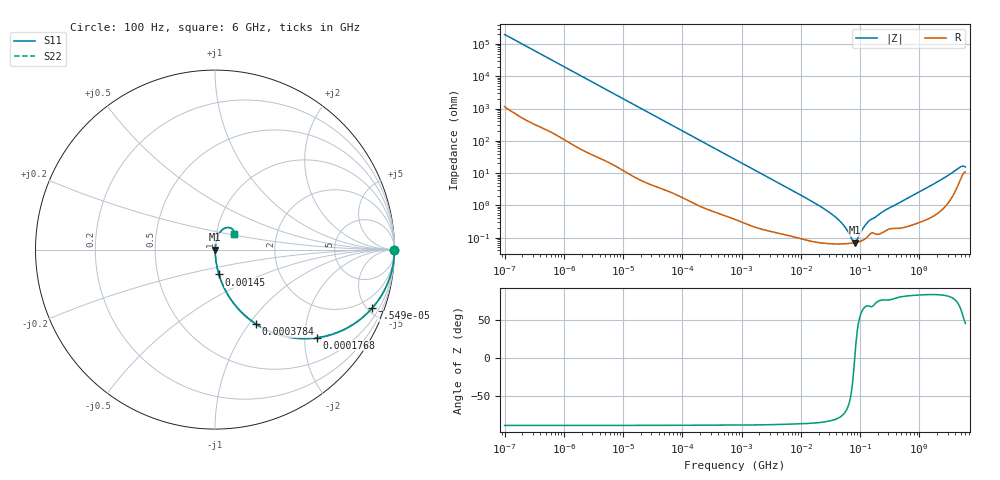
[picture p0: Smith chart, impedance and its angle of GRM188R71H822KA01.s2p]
!Murata Part Number: GRM188R71H822KA01
!These Parameters are Measured in Series Mode Connection
!Data Generated on Mar 30, 2021
!  o--ll--o
!Port1  Port2
!  o------o
!Operation Temp=25[degC], DC Bias Voltage=0[V]
!Freq. Start=100[Hz] Stop=6[GHz] 401[Steps]
# Hz S RI R 50
!Freq.(Hz) S11(Real) S11(Imag) S21(Real) S21(Imag) S12(Real) S12(Imag) S22(Real) S22(Imag)
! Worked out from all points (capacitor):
!   401 points, 100 Hz to 6 GHz, reference 50 ohm
!   read as one part in series: C = 8.05 nF near 109 Hz
!   lowest |Z| = 69.7 mohm at 81.54 MHz (marker M1)
!   series resonance near 81.29 MHz, so ESL is about 480 pH
!   S11 on the Smith chart (normalised r, x): 100 Hz: open; 75.5 kHz: 1.04, -5.36; 176.8 kHz: 1.02, -2.30; 378.4 kHz: 1.01, -1.08; 1.45 MHz: 1.00, -0.28; 6 GHz: 1.21, +0.22
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100  1 -0.000506  3.2e-06 0.000506  3.2e-06 0.000506  1 -0.000506
2008  0.9998 -0.0101  0.000155 0.0101  0.000155 0.0101  0.9998 -0.0101
12592  0.9957 -0.0624  0.00428 0.0624  0.00428 0.0624  0.9957 -0.0624
40335  0.9603 -0.1919  0.0397 0.1919  0.0397 0.1919  0.9603 -0.1919
75495  0.8757 -0.3259  0.1243 0.3259  0.1243 0.3259  0.8757 -0.3259
176758  0.5685 -0.4908  0.4315 0.4908  0.4315 0.4908  0.5685 -0.4908
378399  0.2276 -0.4138  0.7724 0.4138  0.7724 0.4138  0.2276 -0.4138
774597  0.0684 -0.2456  0.9316 0.2456  0.9316 0.2456  0.0684 -0.2456
1449809  0.0219 -0.1386  0.9781 0.1386  0.9781 0.1386  0.0219 -0.1386
1.555665e7  0.00093 -0.0131  0.9991 0.0131  0.9991 0.0131  0.00093 -0.0131
2.911731e7  0.000693 -0.00635  0.9993 0.00635  0.9993 0.00635  0.000693 -0.00635
4.35672e7  0.00065 -0.00348  0.9993 0.00348  0.9993 0.00348  0.00065 -0.00348
5.699437e7  0.000651 -0.0019  0.9993 0.0019  0.9993 0.0019  0.000651 -0.0019
7.455971e7  0.000679 -0.000456  0.9993 0.000456  0.9993 0.000456  0.000679 -0.000456
8.154455e7  0.000696 1.67e-05  0.9993 -1.67e-05  0.9993 -1.67e-05  0.000696 1.67e-05
8.918374e7  0.00072 0.000491  0.9993 -0.000491  0.9993 -0.000491  0.00072 0.000491
1.115611e8  0.00083 0.00172  0.9992 -0.00172  0.9992 -0.00172  0.00083 0.00172
1.395531e8  0.00116 0.003  0.9988 -0.003  0.9988 -0.003  0.00116 0.003
3.124326e8  0.00192 0.00809  0.9981 -0.00809  0.9981 -0.00809  0.00192 0.00809
2.450438e9  0.0116 0.0641  0.9884 -0.0641  0.9884 -0.0641  0.0116 0.0641
4.586474e9  0.0588 0.1207  0.9412 -0.1207  0.9412 -0.1207  0.0588 0.1207
6e9  0.1058 0.089  0.8942 -0.089  0.8942 -0.089  0.1058 0.089
